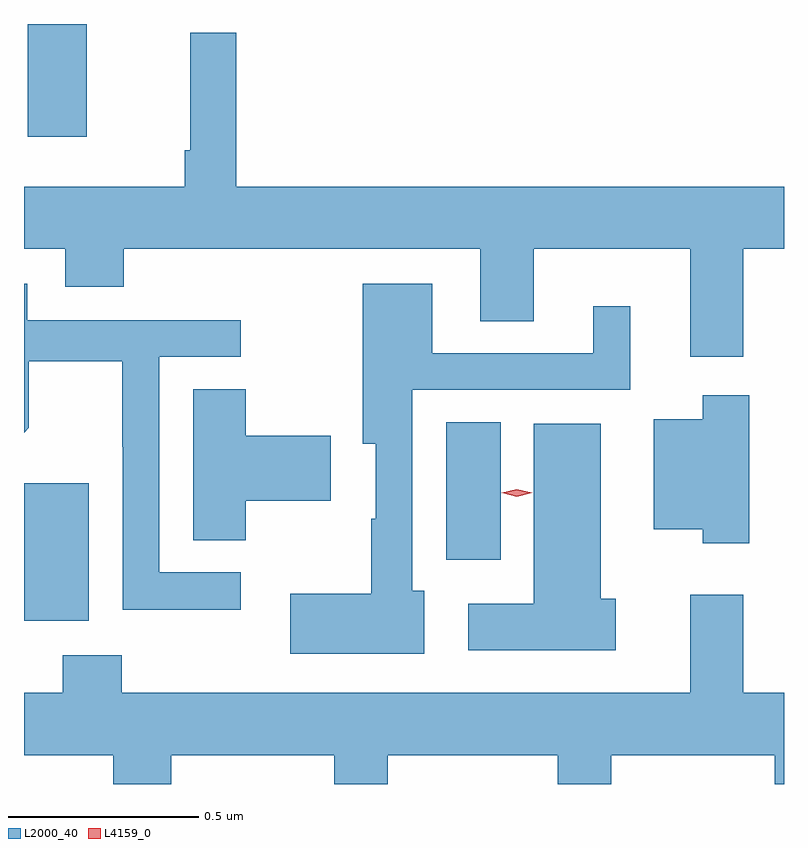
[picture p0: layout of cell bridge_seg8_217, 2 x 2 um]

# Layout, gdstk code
import gdstk
lib = gdstk.Library(unit=1e-6, precision=1e-09)
def R(c, l, rs):  # rectangles x0, y0, x1, y1
    for r in rs: c.add(gdstk.rectangle(r[:2], r[2:], *l))
def P(c, l, *ps):  # polygons
    for p in ps: c.add(gdstk.Polygon(p, *l))
L2000_40 = (2000, 40)
L4159_0 = (4159, 0)

bridge_seg8_217 = lib.new_cell('bridge_seg8_217')
R(bridge_seg8_217, L2000_40, [(231.952,1094.21,232.123,1094.571), (233.063,1094.37,233.206,1094.732), (231.962,1095.483,232.117,1095.78)])
P(bridge_seg8_217, L2000_40, [(232.511,1095.757),(232.39,1095.757),(232.39,1095.448),(232.375,1095.448),(232.375,1095.352),(231.952,1095.352),(231.952,1095.188),(232.061,1095.188),(232.061,1095.089),(232.214,1095.089),(232.214,1095.188),(233.153,1095.188),(233.153,1094.998),(233.293,1094.998),(233.293,1095.188),(233.705,1095.188),(233.705,1094.904),(233.845,1094.904),(233.845,1095.188),(233.952,1095.188),(233.952,1095.352),(232.511,1095.352)],
  [(232.522,1094.337),(232.308,1094.337),(232.308,1094.904),(232.522,1094.904),(232.522,1095),(231.96,1095),(231.96,1095.097),(231.952,1095.097),(231.952,1094.704),(231.965,1094.717),(231.965,1094.892),(232.21,1094.892),(232.21,1094.668),(232.212,1094.668),(232.212,1094.239),(232.522,1094.239)],
  [(233.005,1094.289),(232.974,1094.289),(232.974,1094.817),(233.548,1094.817),(233.548,1095.037),(233.45,1095.037),(233.45,1094.913),(233.026,1094.913),(233.026,1095.097),(232.844,1095.097),(232.844,1094.675),(232.878,1094.675),(232.878,1094.478),(232.866,1094.478),(232.866,1094.281),(232.653,1094.281),(232.653,1094.123),(233.005,1094.123)],
  [(232.536,1094.525),(232.759,1094.525),(232.759,1094.696),(232.536,1094.696),(232.536,1094.819),(232.397,1094.819),(232.397,1094.422),(232.536,1094.422)],
  [(233.86,1094.803),(233.738,1094.803),(233.738,1094.74),(233.609,1094.74),(233.609,1094.45),(233.738,1094.45),(233.738,1094.414),(233.86,1094.414)],
  [(233.509,1094.267),(233.47,1094.267),(233.47,1094.728),(233.294,1094.728),(233.294,1094.254),(233.121,1094.254),(233.121,1094.132),(233.509,1094.132)],
  [(232.339,1093.856),(232.769,1093.856),(232.769,1093.78),(232.909,1093.78),(232.909,1093.856),(233.357,1093.856),(233.357,1093.78),(233.497,1093.78),(233.497,1093.856),(233.927,1093.856),(233.927,1093.78),(233.952,1093.78),(233.952,1094.02),(233.845,1094.02),(233.845,1094.278),(233.705,1094.278),(233.705,1094.02),(232.209,1094.02),(232.209,1094.119),(232.054,1094.119),(232.054,1094.02),(231.952,1094.02),(231.952,1093.856),(232.187,1093.856),(232.187,1093.78),(232.339,1093.78)])
P(bridge_seg8_217, L4159_0, [(233.249,1094.536),(233.209,1094.546),(233.209,1094.546),(233.209,1094.546),(233.249,1094.556),(233.29,1094.546),(233.29,1094.546),(233.29,1094.546)])

lib.write_gds('bridge_seg8_217.gds')
